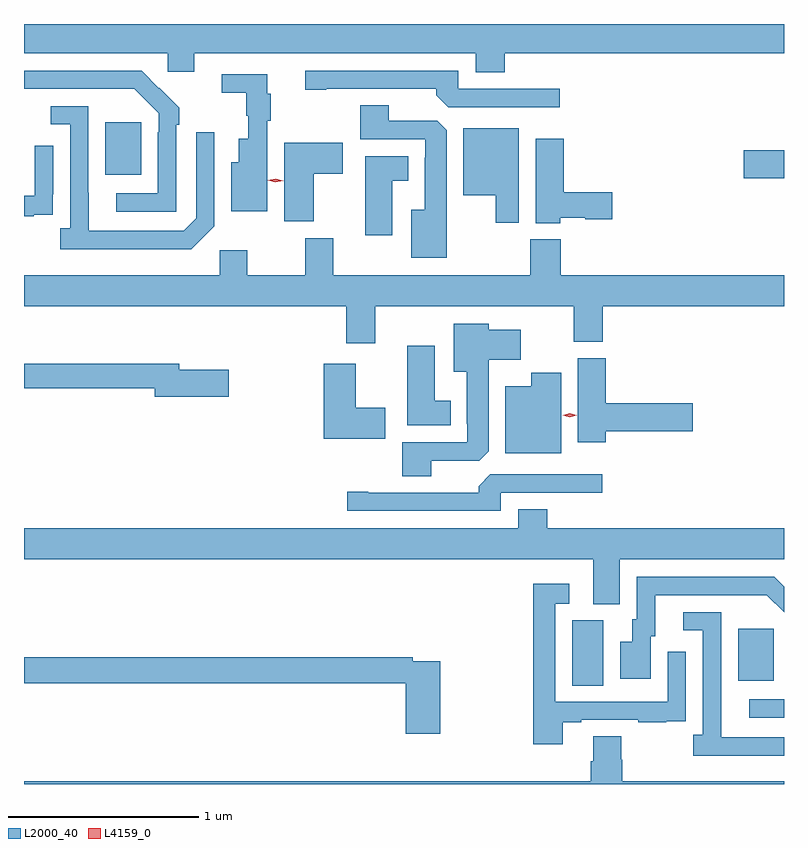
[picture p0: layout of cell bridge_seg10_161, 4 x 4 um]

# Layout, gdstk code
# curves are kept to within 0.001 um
import gdstk
lib = gdstk.Library(unit=1e-6, precision=1e-09)
def R(c, l, rs):  # rectangles x0, y0, x1, y1
    for r in rs: c.add(gdstk.rectangle(r[:2], r[2:], *l))
def P(c, l, *ps):  # polygons
    for p in ps: c.add(gdstk.Polygon(p, *l))
L2000_40 = (2000, 40)
L4159_0 = (4159, 0)

bridge_seg10_161 = lib.new_cell('bridge_seg10_161')
R(bridge_seg10_161, L2000_40, [(241.953,1268.847,242.137,1268.943), (241.022,1269.016,241.186,1269.36), (241.895,1269.041,242.083,1269.316), (241.926,1271.687,242.137,1271.834), (238.565,1271.705,238.753,1271.98)])
P(bridge_seg10_161, L2000_40, [(240.668,1272.344),(242.137,1272.344),(242.137,1272.498),(238.137,1272.498),(238.137,1272.344),(238.893,1272.344),(238.893,1272.246),(239.032,1272.246),(239.032,1272.344),(240.515,1272.344),(240.515,1272.245),(240.668,1272.245)],
  [(238.938,1271.969),(238.953,1271.969),(238.953,1272.057),(238.756,1272.252),(238.137,1272.252),(238.137,1272.156),(238.717,1272.156),(238.845,1272.027),(238.845,1271.927),(238.842,1271.927),(238.842,1271.607),(238.623,1271.607),(238.623,1271.511),(238.938,1271.511)],
  [(240.958,1272.156),(240.423,1272.156),(240.423,1272.252),(239.616,1272.252),(239.616,1272.151),(239.728,1272.151),(239.728,1272.156),(240.308,1272.156),(240.308,1272.122),(240.369,1272.06),(240.958,1272.06)],
  [(239.416,1271.989),(239.435,1271.989),(239.435,1272.131),(239.417,1272.131),(239.417,1272.234),(239.178,1272.234),(239.178,1272.136),(239.307,1272.136),(239.307,1272.015),(239.318,1272.015),(239.318,1271.893),(239.267,1271.893),(239.267,1271.77),(239.228,1271.77),(239.228,1271.513),(239.416,1271.513)],
  [(240.361,1271.939),(240.312,1271.988),(240.058,1271.988),(240.058,1272.071),(239.906,1272.071),(239.906,1271.892),(240.249,1271.892),(240.249,1271.795),(240.245,1271.795),(240.245,1271.521),(240.176,1271.521),(240.176,1271.267),(240.361,1271.267)],
  [(239.139,1271.433),(239.139,1271.929),(239.043,1271.929),(239.043,1271.475),(238.977,1271.409),(238.477,1271.409),(238.476,1272.066),(238.278,1272.066),(238.278,1271.97),(238.38,1271.97),(238.38,1271.422),(238.329,1271.422),(238.329,1271.312),(239.018,1271.312)],
  [(240.742,1271.95),(240.449,1271.95),(240.449,1271.597),(240.62,1271.597),(240.62,1271.451),(240.742,1271.451)],
  [(240.96,1271.477),(241.091,1271.477),(241.091,1271.47),(241.234,1271.47),(241.234,1271.612),(240.977,1271.612),(240.977,1271.893),(240.83,1271.893),(240.83,1271.45),(240.96,1271.45)],
  [(239.662,1271.71),(239.815,1271.71),(239.815,1271.872),(239.507,1271.872),(239.507,1271.459),(239.662,1271.459)],
  [(238.187,1271.493),(238.289,1271.493),(238.289,1271.602),(238.29,1271.602),(238.29,1271.857),(238.194,1271.857),(238.194,1271.595),(238.137,1271.595),(238.137,1271.487),(238.187,1271.487)],
  [(240.076,1271.672),(240.16,1271.672),(240.16,1271.803),(239.933,1271.803),(239.933,1271.385),(240.076,1271.385)],
  [(239.986,1271.012),(241.031,1271.012),(241.031,1270.825),(241.184,1270.825),(241.184,1271.012),(242.137,1271.012),(242.137,1271.176),(240.962,1271.176),(240.962,1271.365),(240.802,1271.365),(240.802,1271.176),(239.764,1271.176),(239.764,1271.371),(239.617,1271.371),(239.617,1271.176),(239.313,1271.176),(239.313,1271.308),(239.166,1271.308),(239.166,1271.176),(238.137,1271.176),(238.137,1271.012),(239.834,1271.012),(239.834,1270.818),(239.986,1270.818)],
  [(240.28,1270.2),(240.534,1270.2),(240.583,1270.249),(240.583,1270.73),(240.751,1270.73),(240.751,1270.888),(240.583,1270.888),(240.583,1270.921),(240.398,1270.921),(240.398,1270.667),(240.467,1270.667),(240.467,1270.393),(240.471,1270.393),(240.471,1270.296),(240.128,1270.296),(240.128,1270.117),(240.28,1270.117)],
  [(240.382,1270.516),(240.298,1270.516),(240.298,1270.804),(240.155,1270.804),(240.155,1270.385),(240.382,1270.385)],
  [(241.199,1270.355),(241.657,1270.355),(241.657,1270.502),(241.199,1270.502),(241.199,1270.74),(241.052,1270.74),(241.052,1270.296),(241.199,1270.296)],
  [(239.215,1270.677),(238.954,1270.677),(238.954,1270.711),(238.137,1270.711),(238.137,1270.582),(238.826,1270.582),(238.826,1270.535),(239.215,1270.535)],
  [(240.037,1270.479),(239.884,1270.479),(239.884,1270.711),(239.714,1270.711),(239.714,1270.316),(240.037,1270.316)],
  [(240.964,1270.663),(240.806,1270.663),(240.806,1270.591),(240.671,1270.591),(240.671,1270.238),(240.964,1270.238)],
  [(240.645,1270.032),(241.18,1270.032),(241.18,1270.128),(240.591,1270.128),(240.53,1270.066),(240.53,1270.032),(239.95,1270.032),(239.95,1270.037),(239.838,1270.037),(239.838,1269.936),(240.645,1269.936)],
  [(241.273,1269.68),(242.137,1269.68),(242.137,1269.844),(240.89,1269.844),(240.89,1269.943),(240.737,1269.943),(240.737,1269.844),(238.137,1269.844),(238.137,1269.68),(241.133,1269.68),(241.133,1269.445),(241.273,1269.445)],
  [(241.435,1269.276),(241.459,1269.276),(241.459,1269.492),(242.047,1269.492),(242.137,1269.401),(242.137,1269.537),(242.086,1269.588),(241.362,1269.588),(241.362,1269.366),(241.337,1269.366),(241.337,1269.247),(241.274,1269.247),(241.274,1269.051),(241.435,1269.051)],
  [(240.973,1268.823),(241.069,1268.823),(241.069,1268.835),(241.369,1268.835),(241.369,1268.823),(241.517,1268.823),(241.517,1268.829),(241.619,1268.829),(241.619,1268.938),(241.62,1268.938),(241.62,1269.193),(241.524,1269.193),(241.524,1268.931),(240.933,1268.931),(240.933,1269.447),(241.006,1269.447),(241.006,1269.553),(240.817,1269.553),(240.817,1268.706),(240.973,1268.706)],
  [(242.137,1268.745),(241.807,1268.745),(241.807,1268.945),(241.806,1268.945),(241.806,1269.402),(241.608,1269.402),(241.608,1269.306),(241.71,1269.306),(241.71,1268.758),(241.659,1268.758),(241.659,1268.648),(242.137,1268.648)],
  [(240.329,1269.144),(240.182,1269.144),(240.182,1269.164),(238.137,1269.164),(238.137,1269.028),(240.146,1269.028),(240.146,1268.763),(240.329,1268.763)],
  [(242.137,1268.512),(241.286,1268.512),(241.286,1268.625),(241.281,1268.625),(241.281,1268.75),(241.133,1268.75),(241.133,1268.618),(241.121,1268.618),(241.121,1268.512),(238.137,1268.512),(238.137,1268.498),(242.137,1268.498)])
P(bridge_seg10_161, L4159_0, [(241.009,1270.429),(240.972,1270.438),(240.971,1270.439),(240.972,1270.439),(241.009,1270.449),(241.047,1270.439),(241.047,1270.439),(241.047,1270.438)],
  [(239.46,1271.664),(239.42,1271.675),(239.419,1271.675),(239.42,1271.676),(239.461,1271.684),(239.502,1271.674),(239.502,1271.674),(239.502,1271.673)])

lib.write_gds('bridge_seg10_161.gds')
